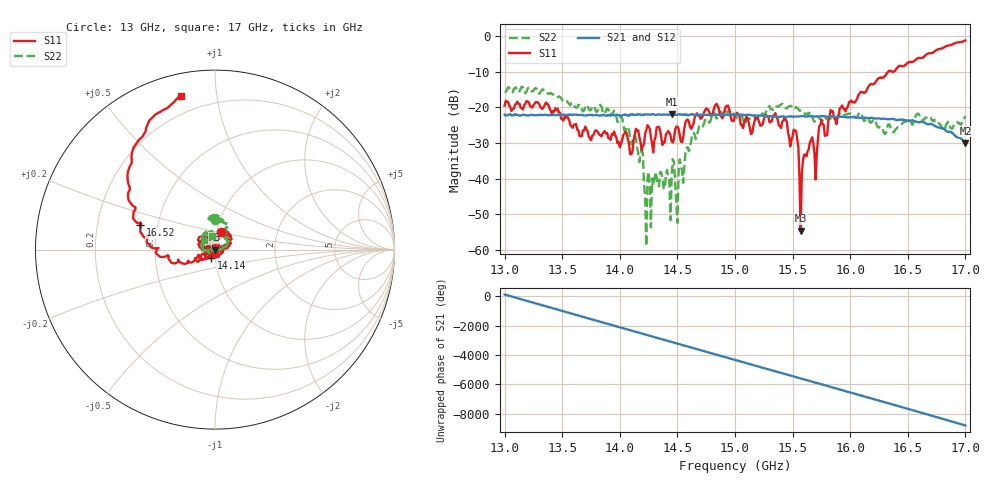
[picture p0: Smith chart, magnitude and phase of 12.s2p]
!Keysight Technologies,P9374A,MY57211807,A.19.30.04
!Date: Friday, May 01, 2026 14:08:26
!Correction: S11(C  2-Port  )
!S21(C  2-Port  )
!S12(C  2-Port  )
!S22(C  2-Port  )
!S2P File: Measurements: S11, S21, S12, S22:
# Hz S  RI  R 50
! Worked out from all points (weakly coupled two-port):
!   401 points, 13 GHz to 17 GHz, reference 50 ohm
!   highest |S21| = -21.82 dB at 14.45 GHz (marker M1); lowest = -30.0 dB at 17 GHz (marker M2)
!   lowest |S11| = -54.7 dB at 15.57 GHz (marker M3), VSWR 1.00, Z = 50.2 + j0.0276 ohm
!   |S11| at or under -10 dB: start of sweep to 16.33 GHz; 16.36878 GHz to 16.37181 GHz (3.031 MHz wide, 0.0185 % of centre)
!   |S22| runs from -59.0 to -14.1 dB; largest |S21 - S12| = 0.0031
!   S11 on the Smith chart (normalised r, x): 13 GHz: 1.05, +0.21; 14.14 GHz: 0.95, -0.08; 16.52 GHz: 0.40, +0.13; 17 GHz: 0.11, +0.80
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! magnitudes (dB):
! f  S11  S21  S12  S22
! 13 GHz  -19.5  -22.0  -22.0  -15.6
! 13.37 GHz  -19.0  -22.2  -22.1  -16.0
! 13.67 GHz  -28.0  -22.1  -22.0  -20.6
! 13.95 GHz  -26.8  -22.2  -22.2  -20.9
! 14.1 GHz  -33.1  -22.0  -22.0  -30.3
! 14.14 GHz  -26.0  -22.1  -22.1  -28.7
! 14.25 GHz  -25.4  -22.0  -22.0  -38.1
! 14.34 GHz  -25.5  -22.0  -22.0  -42.2
! 14.45 GHz  -29.5  -21.8  -21.8  -39.9
! 14.5 GHz  -25.4  -22.0  -22.0  -52.5
! 14.63 GHz  -25.3  -21.9  -21.9  -27.2
! 14.74 GHz  -20.8  -22.1  -22.0  -23.6
! 15 GHz  -22.1  -22.1  -22.1  -22.1
! 15.43 GHz  -22.8  -22.6  -22.6  -19.8
! 15.53 GHz  -26.7  -22.5  -22.5  -19.8
! 15.57 GHz  -54.7  -22.4  -22.4  -20.8
! 15.67 GHz  -28.4  -22.5  -22.5  -22.6
! 15.7 GHz  -40.3  -22.5  -22.5  -23.4
! 15.75 GHz  -23.5  -22.4  -22.4  -23.6
! 16.34 GHz  -9.6  -23.3  -23.2  -24.7
! 16.52 GHz  -7.2  -23.6  -23.6  -23.5
! 17 GHz  -1.1  -30.0  -29.9  -22.4
